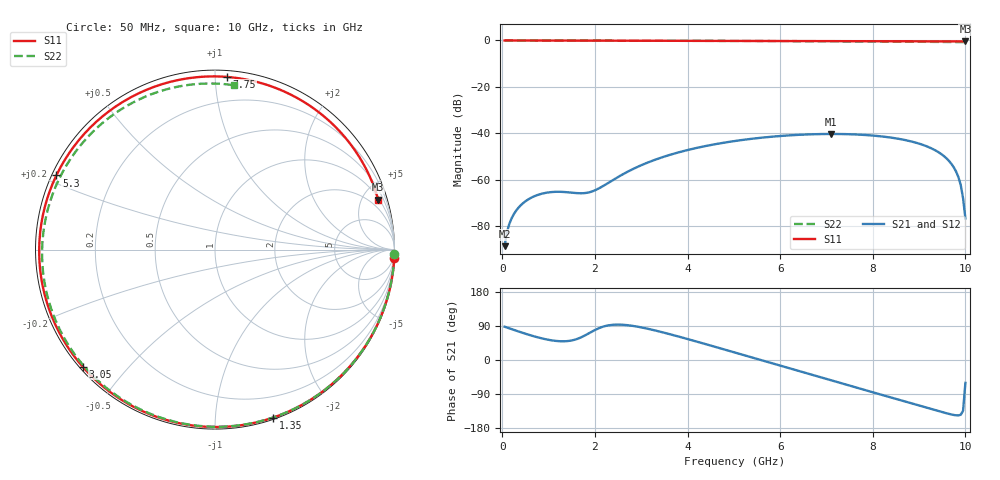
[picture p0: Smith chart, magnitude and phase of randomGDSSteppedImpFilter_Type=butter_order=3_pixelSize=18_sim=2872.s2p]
! freq	dB(S11)	phase(S11)	dB(S12)	phase(S12)
!  dB(S21)	phase(S21)	dB(S22)	phase(S22)
!S-par simulation data
#  GHz  S  DB  R 50
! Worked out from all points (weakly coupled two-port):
!   200 points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, 50 MHz to 10 GHz, reference 50 ohm
!   highest |S21| = -40.23 dB at 7.1 GHz (marker M1); lowest = -88.5 dB at 50 MHz (marker M2)
!   lowest |S11| = -0.4 dB at 10 GHz (marker M3), VSWR 39.80, Z = 55.8 + j325 ohm
!   |S11| at or under -10 dB: nowhere
!   |S22| runs from -0.7 to 0.0 dB; largest |S21 - S12| = 0
!   S11 on the Smith chart (normalised r, x): 50 MHz: 0, -41; 1.35 GHz: 0.01, -1.40; 3.05 GHz: 0.01, -0.38; 5.3 GHz: 0.01, +0.22; 7.75 GHz: 0.04, +1.07; 10 GHz: 1.12, +6.50
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0.05  -0.00 -2.8  -88.51 87.9  -88.51 87.9  -0.00 -1.5
0.15  -0.01 -8.4  -79.02 83.6  -79.02 83.6  -0.00 -4.6
0.35  -0.02 -19.4  -71.94 75.3  -71.94 75.3  -0.01 -10.6
0.6  -0.04 -33.0  -67.93 65.5  -67.93 65.5  -0.02 -18.1
1.35  -0.08 -70.9  -65.22 49.5  -65.22 49.5  -0.05 -40.3
1.75  -0.10 -89.1  -65.72 62.6  -65.72 62.6  -0.06 -51.8
2.35  -0.12 -113.5  -60.54 92.5  -60.54 92.5  -0.09 -68.6
3.05  -0.14 -138.5  -53.26 84.8  -53.26 84.8  -0.11 -87.5
3.4  -0.15 -149.9  -50.62 75.0  -50.62 75.0  -0.12 -96.7
4.2  -0.17 -174.1  -46.22 48.5  -46.22 48.5  -0.16 -117.0
5.05  -0.20 161.8  -43.18 18.8  -43.18 18.8  -0.20 -138.1
5.3  -0.21 154.9  -42.51 10.0  -42.51 10.0  -0.22 -144.2
6.7  -0.27 116.2  -40.36 -39.5  -40.36 -39.5  -0.32 -179.0
7.1  -0.29 104.9  -40.23 -53.6  -40.23 -53.6  -0.36 170.7
7.75  -0.32 86.0  -40.57 -76.4  -40.57 -76.4  -0.42 153.2
8.35  -0.34 68.1  -41.68 -97.4  -41.68 -97.4  -0.49 136.1
9.15  -0.38 43.5  -45.43 -125.4  -45.43 -125.4  -0.58 111.6
9.65  -0.41 27.9  -51.93 -142.4  -51.93 -142.4  -0.65 95.2
9.8  -0.42 23.3  -56.45 -146.0  -56.45 -146.0  -0.68 90.1
9.9  -0.43 20.1  -62.24 -144.4  -62.24 -144.4  -0.69 86.7
9.95  -0.43 18.6  -67.89 -133.9  -67.89 -133.9  -0.70 85.0
10  -0.44 17.0  -76.57 -60.4  -76.57 -60.4  -0.71 83.3
